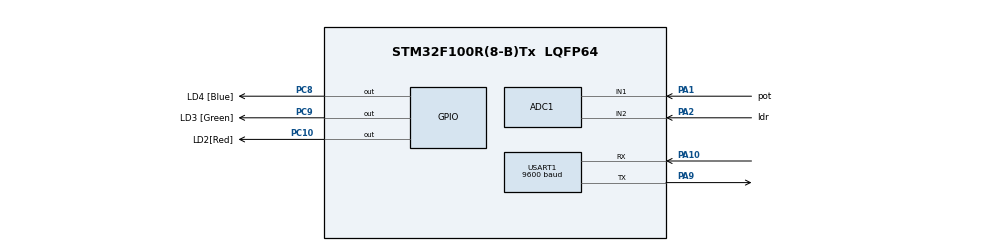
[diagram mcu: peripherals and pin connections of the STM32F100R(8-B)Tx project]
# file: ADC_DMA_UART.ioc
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ADC1.Channel-0\#ChannelRegularConversion=ADC_CHANNEL_1
ADC1.Channel-1\#ChannelRegularConversion=ADC_CHANNEL_2
ADC1.Channel-2\#ChannelRegularConversion=ADC_CHANNEL_TEMPSENSOR
ADC1.ContinuousConvMode=DISABLE
ADC1.NbrOfConversion=3
ADC1.NbrOfConversionFlag=1
ADC1.Rank-0\#ChannelRegularConversion=1
ADC1.Rank-1\#ChannelRegularConversion=2
ADC1.Rank-2\#ChannelRegularConversion=3
ADC1.SamplingTime-0\#ChannelRegularConversion=ADC_SAMPLETIME_55CYCLES_5
ADC1.SamplingTime-1\#ChannelRegularConversion=ADC_SAMPLETIME_55CYCLES_5
ADC1.SamplingTime-2\#ChannelRegularConversion=ADC_SAMPLETIME_55CYCLES_5
ADC1.master=1
Dma.ADC1.0.Direction=DMA_PERIPH_TO_MEMORY
Dma.ADC1.0.Instance=DMA1_Channel1
Dma.ADC1.0.MemDataAlignment=DMA_MDATAALIGN_HALFWORD
Dma.ADC1.0.MemInc=DMA_MINC_ENABLE
Dma.ADC1.0.Mode=DMA_CIRCULAR
Dma.ADC1.0.PeriphDataAlignment=DMA_PDATAALIGN_HALFWORD
Dma.ADC1.0.PeriphInc=DMA_PINC_DISABLE
Dma.ADC1.0.Priority=DMA_PRIORITY_MEDIUM
Dma.Request0=ADC1
Mcu.Family=STM32F1
Mcu.Name=STM32F100R(8-B)Tx
Mcu.Package=LQFP64
NVIC.DMA1_Channel1_IRQn=true\:0\:0\:false\:false\:true\:false\:true\:true
NVIC.PriorityGroup=NVIC_PRIORITYGROUP_4
PA0-WKUP.Mode=SYS_WakeUp0
PA0-WKUP.Signal=SYS_WKUP
PA1.GPIO_Label=pot
PA1.Signal=ADCx_IN1
PA10.Mode=Asynchronous
PA10.Signal=USART1_RX
PA13.GPIO_Label=TMS_SWDIO
PA13.Mode=Serial_Wire
PA13.Signal=SYS_JTMS-SWDIO
PA14.GPIO_Label=TCK_SWCLK
PA14.Mode=Serial_Wire
PA14.Signal=SYS_JTCK-SWCLK
PA2.GPIO_Label=ldr
PA2.Signal=ADCx_IN2
PA9.Mode=Asynchronous
PA9.Signal=USART1_TX
PC10.GPIO_Label=LD2[Red]
PC10.Signal=GPIO_Output
PC14-OSC32_IN.Mode=LSE-External-Oscillator
PC14-OSC32_IN.Signal=RCC_OSC32_IN
PC15-OSC32_OUT.Mode=LSE-External-Oscillator
PC15-OSC32_OUT.Signal=RCC_OSC32_OUT
PC8.GPIO_Label=LD4 [Blue]
PC8.Signal=GPIO_Output
PC9.GPIO_Label=LD3 [Green]
PC9.Signal=GPIO_Output
PD0-OSC_IN.Mode=HSE-External-Oscillator
PD0-OSC_IN.Signal=RCC_OSC_IN
PD1-OSC_OUT.Mode=HSE-External-Oscillator
PD1-OSC_OUT.Signal=RCC_OSC_OUT
ProjectManager.HeapSize=0x200
ProjectManager.StackSize=0x400
ProjectManager.TargetToolchain=STM32CubeIDE
RCC.APB1Freq_Value=8000000
RCC.APB2Freq_Value=8000000
SH.ADCx_IN1.0=ADC1_IN1,IN1
SH.ADCx_IN2.0=ADC1_IN2,IN2
USART1.BaudRate=9600
USART1.VirtualMode=VM_ASYNC
VP_ADC1_TempSens_Input.Mode=IN-TempSens
board=STM32VLDISCOVERY

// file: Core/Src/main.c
/* USER CODE BEGIN Header */
/**
  ******************************************************************************
  * @file           : main.c
  * @brief          : Main program body
  ******************************************************************************
  * @attention
  *
  * Copyright (c) 2022 STMicroelectronics.
  * All rights reserved.
  *
  * This software is licensed under terms that can be found in the LICENSE file
  * in the root directory of this software component.
  * If no LICENSE file comes with this software, it is provided AS-IS.
  *
  ******************************************************************************
  */
/* USER CODE END Header */
#include "main.h"

/* USER CODE BEGIN Includes */
#include <stdio.h>
/* USER CODE END Includes */

/* USER CODE BEGIN PD */
#define V25 1.53 //V25=Vsense at 25 degrees , 25 derecedeki voltaj degeri(typical value: 1.32 & 1.43 & 1.50).
/* USER CODE END PD */

ADC_HandleTypeDef hadc1;
DMA_HandleTypeDef hdma_adc1;

UART_HandleTypeDef huart1;

/* USER CODE BEGIN PV */

float temp_voltage=0;
float temperature=0;

uint16_t volatile adcData[3];
uint16_t volatile adcDataBuffer[3];
uint16_t volatile adcConvComplt = 0; //Flag for Conversion completion
char message[50];

/* USER CODE END PV */

void SystemClock_Config(void);
static void MX_GPIO_Init(void);
static void MX_DMA_Init(void);
static void MX_ADC1_Init(void);
static void MX_USART1_UART_Init(void);

int main(void)
{

  /* MCU Configuration--------------------------------------------------------*/

  /* Reset of all peripherals, Initializes the Flash interface and the Systick. */
  HAL_Init();

  /* Configure the system clock */
  SystemClock_Config();

  /* Initialize all configured peripherals */
  MX_GPIO_Init();
  MX_DMA_Init();
  MX_ADC1_Init();
  MX_USART1_UART_Init();
  /* USER CODE BEGIN 2 */

  HAL_ADCEx_Calibration_Start(&hadc1);

  HAL_GPIO_WritePin(GPIOC, GPIO_PIN_10, GPIO_PIN_SET);
  HAL_Delay(500);
  HAL_GPIO_WritePin(GPIOC, GPIO_PIN_10, GPIO_PIN_RESET);
  HAL_Delay(1000);

  /* USER CODE END 2 */

  /* Infinite loop */
while (1)
  {

    /* USER CODE BEGIN 3 */
	HAL_ADC_Start_DMA(&hadc1,(uint32_t *)adcDataBuffer, 3);
	while(adcConvComplt == 0)
	{

	}
	adcConvComplt = 0;

	uint16_t okupot=adcData[0];//adcData[0] indicates pot ADC Value
	uint16_t okuldr=adcData[1];//adcData[1] indicates ldr ADC Value
	uint16_t okutemp=adcData[2];//adcData[2] indicates temperature ADC Value

	temp_voltage = (float) okutemp * (3.3 / 4095);
	temperature = (V25 - temp_voltage) / 0.0043 + 25;   // V25 =1.50
	//Calculate the current temperature value -->  temp_voltage = Vsense
	//Temperature={(V25-Vsense)/Avg_Slope}+25 ; Avg_Slope=4.0 & 4.3 & 4.6 mV
	HAL_Delay(100);

	sprintf(message,"POT = %u || LDR = %u || Temperature = %0.1f\n",okupot, okuldr, temperature);
	HAL_UART_Transmit(&huart1,(uint8_t *)message,sizeof(message),HAL_MAX_DELAY);
	HAL_Delay(200);

	if (okupot < 2300 ) {

		HAL_GPIO_WritePin(GPIOC, LD4_Pin,GPIO_PIN_SET);
		HAL_GPIO_WritePin(GPIOC, LD3_Pin | GPIO_PIN_10, GPIO_PIN_RESET);

	} else if (okupot >= 2300  && okupot < 3700 ) {

		HAL_GPIO_WritePin(GPIOC, LD3_Pin,GPIO_PIN_SET);
		HAL_GPIO_WritePin(GPIOC, LD4_Pin | GPIO_PIN_10, GPIO_PIN_RESET);

	} else if (okupot >= 3700 ) {
		HAL_GPIO_WritePin(GPIOC, GPIO_PIN_10,GPIO_PIN_SET);
		HAL_GPIO_WritePin(GPIOC, LD3_Pin | LD4_Pin, GPIO_PIN_RESET);

	} else{
		HAL_GPIO_TogglePin(GPIOC, GPIO_PIN_10 | LD3_Pin |LD4_Pin);
		HAL_Delay(30);
	}

  }
  /* USER CODE END 3 */
}

void SystemClock_Config(void)
{
  RCC_OscInitTypeDef RCC_OscInitStruct = {0};
  RCC_ClkInitTypeDef RCC_ClkInitStruct = {0};
  RCC_PeriphCLKInitTypeDef PeriphClkInit = {0};

  /** Initializes the RCC Oscillators according to the specified parameters
  * in the RCC_OscInitTypeDef structure.
  */
  RCC_OscInitStruct.OscillatorType = RCC_OSCILLATORTYPE_HSI;
  RCC_OscInitStruct.HSIState = RCC_HSI_ON;
  RCC_OscInitStruct.HSICalibrationValue = RCC_HSICALIBRATION_DEFAULT;
  RCC_OscInitStruct.PLL.PLLState = RCC_PLL_NONE;
  if (HAL_RCC_OscConfig(&RCC_OscInitStruct) != HAL_OK)
  {
    Error_Handler();
  }

  /** Initializes the CPU, AHB and APB buses clocks
  */
  RCC_ClkInitStruct.ClockType = RCC_CLOCKTYPE_HCLK|RCC_CLOCKTYPE_SYSCLK
                              |RCC_CLOCKTYPE_PCLK1|RCC_CLOCKTYPE_PCLK2;
  RCC_ClkInitStruct.SYSCLKSource = RCC_SYSCLKSOURCE_HSI;
  RCC_ClkInitStruct.AHBCLKDivider = RCC_SYSCLK_DIV1;
  RCC_ClkInitStruct.APB1CLKDivider = RCC_HCLK_DIV1;
  RCC_ClkInitStruct.APB2CLKDivider = RCC_HCLK_DIV1;

  if (HAL_RCC_ClockConfig(&RCC_ClkInitStruct, FLASH_LATENCY_0) != HAL_OK)
  {
    Error_Handler();
  }
  PeriphClkInit.PeriphClockSelection = RCC_PERIPHCLK_ADC;
  PeriphClkInit.AdcClockSelection = RCC_ADCPCLK2_DIV2;
  if (HAL_RCCEx_PeriphCLKConfig(&PeriphClkInit) != HAL_OK)
  {
    Error_Handler();
  }
}

static void MX_ADC1_Init(void)
{

  ADC_ChannelConfTypeDef sConfig = {0};

  /** Common config
  */
  hadc1.Instance = ADC1;
  hadc1.Init.ScanConvMode = ADC_SCAN_ENABLE;
  hadc1.Init.ContinuousConvMode = DISABLE;
  hadc1.Init.DiscontinuousConvMode = DISABLE;
  hadc1.Init.ExternalTrigConv = ADC_SOFTWARE_START;
  hadc1.Init.DataAlign = ADC_DATAALIGN_RIGHT;
  hadc1.Init.NbrOfConversion = 3;
  if (HAL_ADC_Init(&hadc1) != HAL_OK)
  {
    Error_Handler();
  }

  /** Configure Regular Channel
  */
  sConfig.Channel = ADC_CHANNEL_1;
  sConfig.Rank = ADC_REGULAR_RANK_1;
  sConfig.SamplingTime = ADC_SAMPLETIME_55CYCLES_5;
  if (HAL_ADC_ConfigChannel(&hadc1, &sConfig) != HAL_OK)
  {
    Error_Handler();
  }

  /** Configure Regular Channel
  */
  sConfig.Channel = ADC_CHANNEL_2;
  sConfig.Rank = ADC_REGULAR_RANK_2;
  if (HAL_ADC_ConfigChannel(&hadc1, &sConfig) != HAL_OK)
  {
    Error_Handler();
  }

  /** Configure Regular Channel
  */
  sConfig.Channel = ADC_CHANNEL_TEMPSENSOR;
  sConfig.Rank = ADC_REGULAR_RANK_3;
  if (HAL_ADC_ConfigChannel(&hadc1, &sConfig) != HAL_OK)
  {
    Error_Handler();
  }

}

static void MX_USART1_UART_Init(void)
{

  huart1.Instance = USART1;
  huart1.Init.BaudRate = 9600;
  huart1.Init.WordLength = UART_WORDLENGTH_8B;
  huart1.Init.StopBits = UART_STOPBITS_1;
  huart1.Init.Parity = UART_PARITY_NONE;
  huart1.Init.Mode = UART_MODE_TX_RX;
  huart1.Init.HwFlowCtl = UART_HWCONTROL_NONE;
  huart1.Init.OverSampling = UART_OVERSAMPLING_16;
  if (HAL_UART_Init(&huart1) != HAL_OK)
  {
    Error_Handler();
  }

}

static void MX_DMA_Init(void)
{

  /* DMA controller clock enable */
  __HAL_RCC_DMA1_CLK_ENABLE();

  /* DMA interrupt init */
  /* DMA1_Channel1_IRQn interrupt configuration */
  HAL_NVIC_SetPriority(DMA1_Channel1_IRQn, 0, 0);
  HAL_NVIC_EnableIRQ(DMA1_Channel1_IRQn);

}

static void MX_GPIO_Init(void)
{
  GPIO_InitTypeDef GPIO_InitStruct = {0};

  /* GPIO Ports Clock Enable */
  __HAL_RCC_GPIOC_CLK_ENABLE();
  __HAL_RCC_GPIOD_CLK_ENABLE();
  __HAL_RCC_GPIOA_CLK_ENABLE();

  /*Configure GPIO pin Output Level */
  HAL_GPIO_WritePin(GPIOC, LD4_Pin|LD3_Pin|LD2_Pin, GPIO_PIN_RESET);

  /*Configure GPIO pins : LD4_Pin LD3_Pin LD2_Pin */
  GPIO_InitStruct.Pin = LD4_Pin|LD3_Pin|LD2_Pin;
  GPIO_InitStruct.Mode = GPIO_MODE_OUTPUT_PP;
  GPIO_InitStruct.Pull = GPIO_NOPULL;
  GPIO_InitStruct.Speed = GPIO_SPEED_FREQ_LOW;
  HAL_GPIO_Init(GPIOC, &GPIO_InitStruct);

}

/* USER CODE BEGIN 4 */

void HAL_ADC_ConvCpltCallback(ADC_HandleTypeDef* hadc)
{
	if(hadc->Instance==ADC1){
		for(uint8_t i=0; i<3; i++){
			adcData[i]=adcDataBuffer[i];
			//hadc->Instance->DR
			//hadc->Instance==ADC1

		}

	}
	adcConvComplt = 1;
}

/* USER CODE END 4 */

void Error_Handler(void)
{
  __disable_irq();
  while (1)
  {
  }
}
